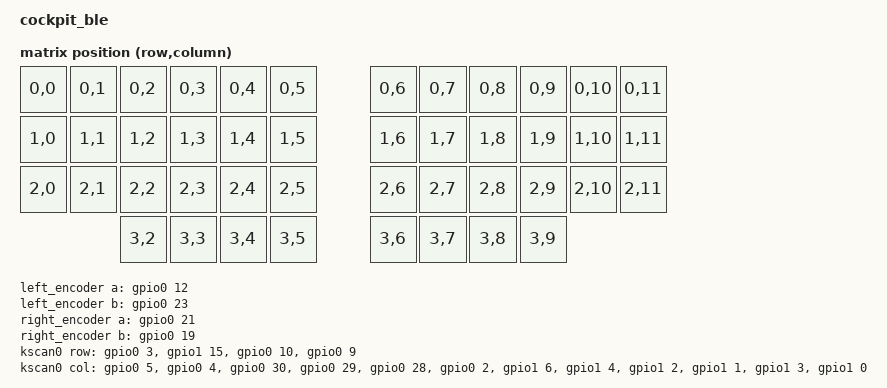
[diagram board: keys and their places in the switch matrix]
/*
 * Copyright (c) 2023 ozkan (github.com/ozkan)
 *
 * SPDX-License-Identifier: MIT
 */
 
/dts-v1/;
#include <nordic/nrf52840_qiaa.dtsi>
#include <dt-bindings/zmk/matrix_transform.h>
#include "cockpit_ble_oled.dtsi"
#include "cockpit_ble_led_strip.dtsi"
#include "cockpit_ble_flash.dtsi"

/ {
	model = "cockpit_ble";
	compatible = "cockpit_ble";

	chosen {
		zephyr,display = &oled;
		zephyr,code-partition = &code_partition;
		zephyr,sram = &sram0;
		zephyr,flash = &flash0;
		zmk,kscan = &kscan0;
		zmk,matrix_transform = &default_transform;
		zmk,underglow = &led_strip;
		zephyr,console = &cdc_acm_uart;
		zmk,battery = &vbatt;
	};

	leds {
		compatible = "gpio-leds";
		blue_led: led_0 {
			gpios = <&gpio1 13 GPIO_ACTIVE_HIGH>;
		};
	};

	left_encoder: encoder_left {
		compatible = "alps,ec11";
        a-gpios = <&gpio0 12 (GPIO_ACTIVE_HIGH | GPIO_PULL_UP)>;
        b-gpios = <&gpio0 23 (GPIO_ACTIVE_HIGH | GPIO_PULL_UP)>;
        steps = <80>;
    };

    right_encoder: encoder_right {
		compatible = "alps,ec11";
        a-gpios = <&gpio0 21 (GPIO_ACTIVE_HIGH | GPIO_PULL_UP)>;
        b-gpios = <&gpio0 19 (GPIO_ACTIVE_HIGH | GPIO_PULL_UP)>;
        steps = <80>;
    };

    sensors {
		compatible = "zmk,keymap-sensors";
        sensors = <&left_encoder &right_encoder>;
        triggers-per-rotation = <20>;
        };

	EXT_POWER {
		compatible = "zmk,ext-power-generic";
		control-gpios = <&gpio1 9 GPIO_ACTIVE_LOW>;
		init-delay-ms = <200>;
	};

	vbatt: vbatt {
		compatible = "zmk,battery-voltage-divider";
		io-channels = <&adc 7>;
		output-ohms = <2130000>;
		full-ohms = <(2130000 + 826000)>;
	};

    default_transform: keymap_transform_0 {
        compatible = "zmk,matrix-transform";
        columns = <12>;
        rows = <4>;

        map = <
        	RC(0,0) RC(0,1) RC(0,2) RC(0,3) RC(0,4) RC(0,5)        RC(0,6) RC(0,7) RC(0,8) RC(0,9) RC(0,10) RC(0,11)
        	RC(1,0) RC(1,1) RC(1,2) RC(1,3) RC(1,4) RC(1,5)        RC(1,6) RC(1,7) RC(1,8) RC(1,9) RC(1,10) RC(1,11)
        	RC(2,0) RC(2,1) RC(2,2) RC(2,3) RC(2,4) RC(2,5)        RC(2,6) RC(2,7) RC(2,8) RC(2,9) RC(2,10) RC(2,11)
                RC(3,2) RC(3,3) RC(3,4)    RC(3,5) RC(3,6)     RC(3,7) RC(3,8) RC(3,9) 
        >;
    };

	kscan0: kscan {
		compatible = "zmk,kscan-gpio-matrix";
		wakeup-source;

		diode-direction = "col2row";
		row-gpios
			= <&gpio0 3  (GPIO_ACTIVE_HIGH | GPIO_PULL_DOWN)> // row0
			, <&gpio1 15 (GPIO_ACTIVE_HIGH | GPIO_PULL_DOWN)> // row1
			, <&gpio0 10 (GPIO_ACTIVE_HIGH | GPIO_PULL_DOWN)> // row2
			, <&gpio0 9  (GPIO_ACTIVE_HIGH | GPIO_PULL_DOWN)> // row3
			;
		col-gpios
			= <&gpio0 5   GPIO_ACTIVE_HIGH> // col0  
			, <&gpio0 4   GPIO_ACTIVE_HIGH> // col1  
			, <&gpio0 30  GPIO_ACTIVE_HIGH> // col2
			, <&gpio0 29  GPIO_ACTIVE_HIGH> // col3
			, <&gpio0 28  GPIO_ACTIVE_HIGH> // col4
			, <&gpio0 2   GPIO_ACTIVE_HIGH> // col5
			, <&gpio1 6   GPIO_ACTIVE_HIGH> // col6
			, <&gpio1 4   GPIO_ACTIVE_HIGH> // col7
			, <&gpio1 2   GPIO_ACTIVE_HIGH> // col8
			, <&gpio1 1   GPIO_ACTIVE_HIGH> // col9
			, <&gpio1 3   GPIO_ACTIVE_HIGH> // col10
			, <&gpio1 0   GPIO_ACTIVE_HIGH> // col11
			;
	};
};


&left_encoder {
    status = "okay";
};

&right_encoder {
    status = "okay";
};


&gpio0 {
	status = "okay";
};

&gpio1 {
	status = "okay";
};

&adc {
	status = "okay";
};

&usbd {
	status = "okay";
	cdc_acm_uart: cdc_acm_uart {
		compatible = "zephyr,cdc-acm-uart";
	};
};

